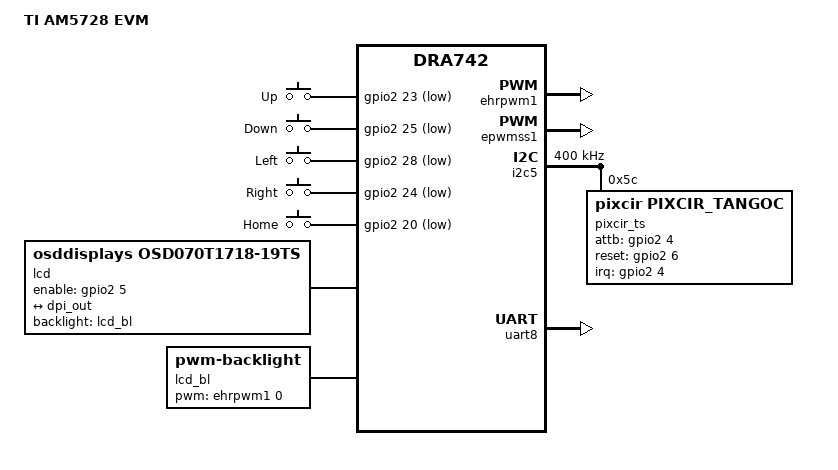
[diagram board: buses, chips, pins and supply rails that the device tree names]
/dts-v1/;
/plugin/;
#include <dt-bindings/interrupt-controller/irq.h>
#include <dt-bindings/gpio/gpio.h>
#include <dt-bindings/input/input.h>

/ {
  fragment@101 {
	target-path = "/";

	__overlay__ {
		compatible = "ti,am5728-evm", "ti,am572x-beagle-x15", "ti,am5728", "ti,dra742", "ti,dra74", "ti,dra7";
		model = "TI AM5728 EVM";

		aliases {
			display0 = "/display";
			display1 = "/connector";
		};

		gpio_keys {
			compatible = "gpio-keys";
			#address-cells = <1>;
			#size-cells = <0>;
			autorepeat;

			USER1 {
				gpios = <&gpio2 23 GPIO_ACTIVE_LOW>;
				label = "Up";
				linux,code = <KEY_UP>;
			};

			USER2 {
				gpios = <&gpio2 25 GPIO_ACTIVE_LOW>;
				label = "Down";
				linux,code = <KEY_DOWN>;
			};

			USER3 {
				gpios = <&gpio2 28 GPIO_ACTIVE_LOW>;
				label = "Left";
				linux,code = <KEY_LEFT>;
			};

			USER4 {
				gpios = <&gpio2 24 GPIO_ACTIVE_LOW>;
				label = "Right";
				linux,code = <KEY_RIGHT>;
			};

			USER5 {
				gpios = <&gpio2 20 GPIO_ACTIVE_LOW>;
				label = "Home";
				linux,code = <KEY_HOME>;
			};
		};

		lcd0: display {
			compatible = "osddisplays,osd070t1718-19ts", "panel-dpi";
			backlight = <&lcd_bl>;
			enable-gpios = <&gpio2 5 GPIO_ACTIVE_HIGH>;
			label = "lcd";

			panel-timing {
				clock-frequency = <33000000>;
				de-active = <1>;
				hactive = <800>;
				hback-porch = <16>;
				hfront-porch = <210>;
				hsync-active = <0>;
				hsync-len = <30>;
				pixelclk-active = <1>;
				vactive = <480>;
				vback-porch = <10>;
				vfront-porch = <22>;
				vsync-active = <0>;
				vsync-len = <13>;
			};

			port {
				lcd_in: endpoint {
					remote-endpoint = <&dpi_out>;
				};
			};
		};

		lcd_bl: backlight {
			compatible = "pwm-backlight";
			brightness-levels = <0 243 245 247 249 251 252 253 255>;
			default-brightness-level = <8>;
			pwms = <&ehrpwm1 0 50000 0>;
		};
	};
  };
};

&ehrpwm1 {
	status = "okay";
};

&epwmss1 {
	status = "okay";
};

&i2c5 {
	#address-cells = <1>;
	#size-cells = <0>;

	clock-frequency = <400000>;
	status = "okay";

	pixcir_ts@5c {
		compatible = "pixcir,pixcir_tangoc";
		attb-gpio = <&gpio2 4 GPIO_ACTIVE_HIGH>;
		interrupt-parent = <&gpio2>;
		interrupts = <4 0>;
		reg = <0x5c>;
		reset-gpio = <&gpio2 6 GPIO_ACTIVE_HIGH>;
		touchscreen-size-x = <1024>;
		touchscreen-size-y = <600>;
	};
};

&uart8 {
	status = "okay";
};

&dss {
	ports {
		#address-cells = <1>;
		#size-cells = <0>;

		port@0 {
			reg = <0>;

			dpi_out: endpoint {
				data-lines = <24>;
				remote-endpoint = <&lcd_in>;
			};
		};
	};
};
